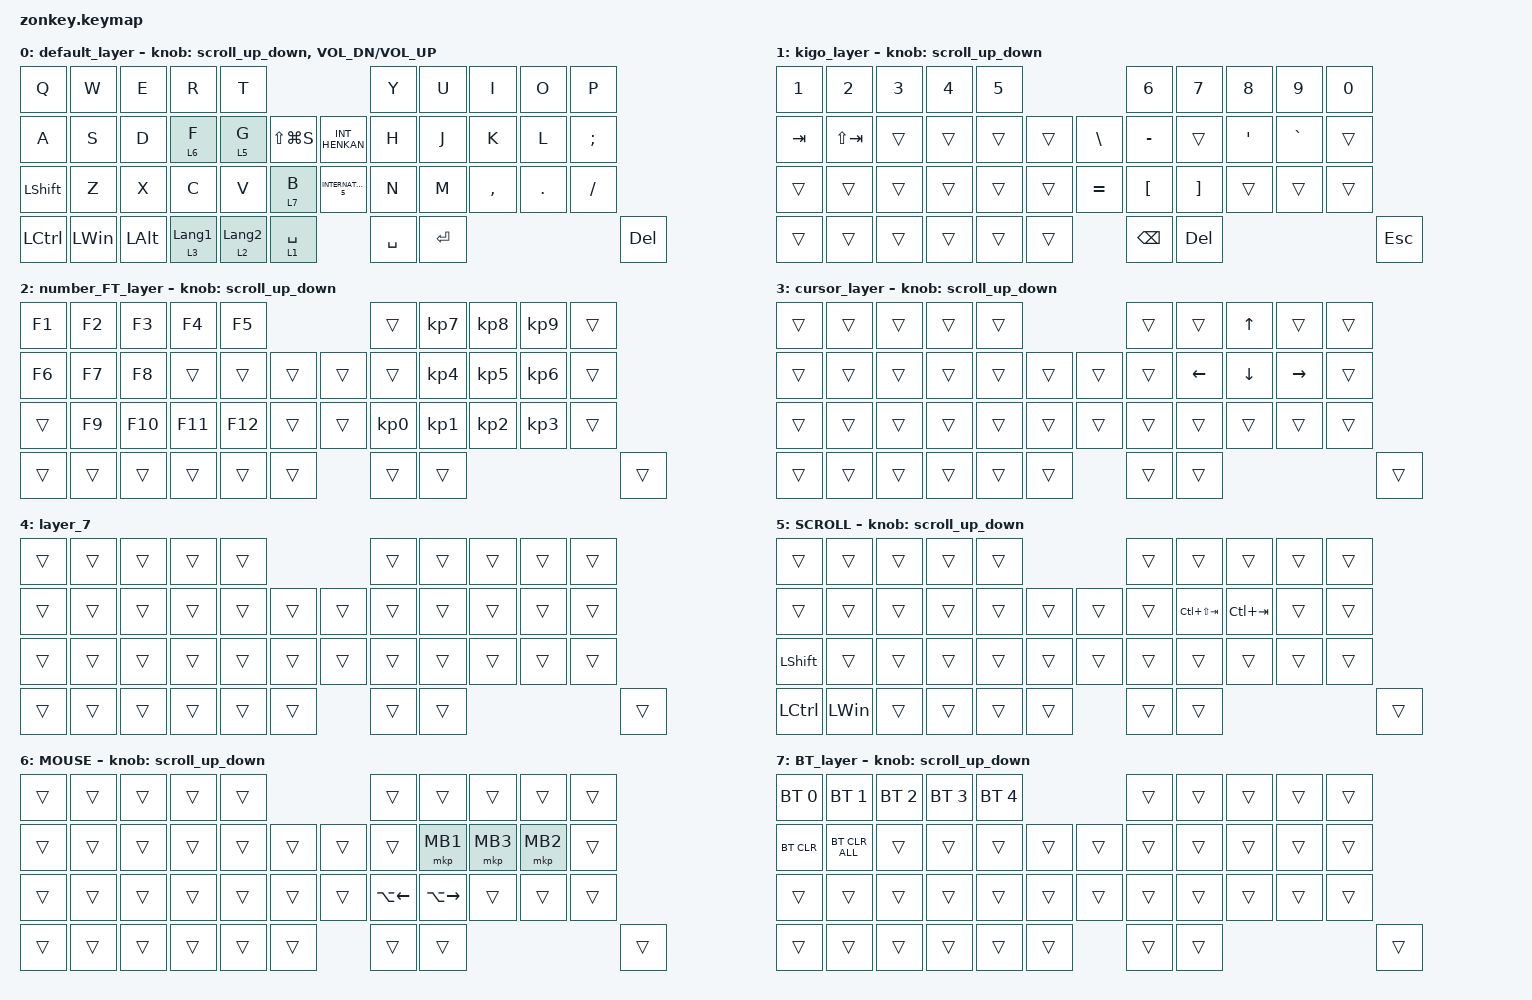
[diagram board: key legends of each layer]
#include <behaviors.dtsi>
#include <dt-bindings/zmk/bt.h>
#include <dt-bindings/zmk/keys.h>
#include <dt-bindings/zmk/pointing.h>

#define ZMK_POINTING_DEFAULT_SCRL_VAL 100
#define MOUSE 6
#define JP_DQUOTE       AT                // "
#define JP_AMPERSAND    CARET             // &
#define JP_QUOTE        AMPERSAND         // '
#define JP_EQUAL        UNDER             // =
#define JP_CARET        EQUAL             // ^
#define JP_YEN          0x89              // ¥
#define JP_PLUS         COLON             // +
#define JP_TILDE        PLUS              // ~
#define JP_PIPE         LS(0x89)          // |
#define JP_AT           LEFT_BRACKET      // @
#define JP_COLON        SINGLE_QUOTE      // :
#define JP_ASTERISK     DOUBLE_QUOTES     // *
#define JP_BACKQUOTE    LEFT_BRACE        // `
#define JP_UNDERSCORE   LS(0x87)          // _
#define JP_LBRACKET     RIGHT_BRACKET     // [
#define JP_RBRACKET     BACKSLASH         // ]
#define JP_LPAREN       ASTERISK          // (
#define JP_RPAREN       LEFT_PARENTHESIS  // )
#define JP_LBRACE       RIGHT_BRACE       // {
#define JP_RBRACE       PIPE              // }
#define JP_KANA         LANGUAGE_1        // かな
#define JP_EISU         LANGUAGE_2        // 英数
#define JP_HANZEN       GRAVE             // 半角/全角
#define JP_BSLH  INT1         // (backslash)

&mt {
    flavor = "balanced";
    quick-tap-ms = <0>;
};

/ {
    combos { compatible = "zmk,combos"; };

    mo2: mo2 {
        compatible = "zmk,behavior-mod-morph";
        #binding-cells = <0>;
        bindings = <&kp N2>, <&kp AT>;

        mods = <(MOD_LSFT|MOD_RSFT)>;
    };

    mo6: mo6 {
        compatible = "zmk,behavior-mod-morph";
        #binding-cells = <0>;
        bindings = <&kp N6>, <&kp CARET>;

        mods = <(MOD_LSFT|MOD_RSFT)>;
    };

    mo7: mo7 {
        compatible = "zmk,behavior-mod-morph";
        #binding-cells = <0>;
        bindings = <&kp N7>, <&kp AMPS>;

        mods = <(MOD_LSFT|MOD_RSFT)>;
    };

    mo8: mo8 {
        compatible = "zmk,behavior-mod-morph";
        #binding-cells = <0>;
        bindings = <&kp N8>, <&kp ASTRK>;

        mods = <(MOD_LSFT|MOD_RSFT)>;
    };

    mo9: mo9 {
        compatible = "zmk,behavior-mod-morph";
        #binding-cells = <0>;
        bindings = <&kp N9>, <&kp LPAR>;

        mods = <(MOD_LSFT|MOD_RSFT)>;
    };

    mo0: mo0 {
        compatible = "zmk,behavior-mod-morph";
        #binding-cells = <0>;
        bindings = <&kp N0>, <&kp LS(N9)>;

        mods = <(MOD_LSFT|MOD_RSFT)>;
    };

    moA: moA {
        compatible = "zmk,behavior-mod-morph";
        #binding-cells = <0>;
        bindings = <&kp MINUS>, <&kp UNDERSCORE>;

        mods = <(MOD_LSFT|MOD_RSFT)>;
    };

    moB: moB {
        compatible = "zmk,behavior-mod-morph";
        #binding-cells = <0>;
        bindings = <&kp EQUAL>, <&kp PLUS>;

        mods = <(MOD_LSFT|MOD_RSFT)>;
    };

    moC: moC {
        compatible = "zmk,behavior-mod-morph";
        #binding-cells = <0>;
        bindings = <&kp INT3>, <&kp JP_PIPE>;

        mods = <(MOD_LSFT|MOD_RSFT)>;
    };

    moD: moD {
        compatible = "zmk,behavior-mod-morph";
        #binding-cells = <0>;
        bindings = <&kp LBKT>, <&kp LBRC>;

        mods = <(MOD_LSFT|MOD_RSFT)>;
    };

    moE: moE {
        compatible = "zmk,behavior-mod-morph";
        #binding-cells = <0>;
        bindings = <&kp RBKT>, <&kp RBRC>;

        mods = <(MOD_LSFT|MOD_RSFT)>;
    };

    moF: moF {
        compatible = "zmk,behavior-mod-morph";
        #binding-cells = <0>;
        bindings = <&kp SEMI>, <&kp KP_PLUS>;

        mods = <(MOD_LSFT|MOD_RSFT)>;
    };

    moG: moG {
        compatible = "zmk,behavior-mod-morph";
        #binding-cells = <0>;
        bindings = <&kp APOSTROPHE>, <&kp DQT>;

        mods = <(MOD_LSFT|MOD_RSFT)>;
    };

    moH: moH {
        compatible = "zmk,behavior-mod-morph";
        #binding-cells = <0>;
        bindings = <&kp BACKSLASH>, <&kp TILDE2>;

        mods = <(MOD_LSFT|MOD_RSFT)>;
    };

    moI: moI {
        compatible = "zmk,behavior-mod-morph";
        #binding-cells = <0>;
        bindings = <&kp JP_BSLH>, <&kp JP_UNDERSCORE>;

        mods = <(MOD_LSFT|MOD_RSFT)>;
    };

    macros {
        to_layer_0: to_layer_0 {
            compatible = "zmk,behavior-macro-one-param";
            #binding-cells = <1>;
            bindings = <&to 0 &macro_param_1to1 &kp MACRO_PLACEHOLDER>;
            label = "TO_LAYER_0";
        };
    };

    behaviors {
        lt_to_layer_0: lt_to_layer_0 {
            compatible = "zmk,behavior-hold-tap";
            label = "LAYER_TAP_TO_0";
            bindings = <&mo>, <&to_layer_0>;

            #binding-cells = <2>;
            tapping-term-ms = <200>;
        };

        scroll_up_down: behavior_sensor_rotate_mouse_wheel_up_down {
            compatible = "zmk,behavior-sensor-rotate";
            #sensor-binding-cells = <0>;
            bindings = <&msc SCRL_DOWN>, <&msc SCRL_UP>;

            tap-ms = <20>;
        };
    };

    keymap {
        compatible = "zmk,keymap";

        default_layer {
            // -----------------------------------------------------------------------------------------
            // |  Q  |  W  |  E  |  R  |  T  |                        |  Y  |  U   |  I  |  O  |  P  | 
            // |  A  |  S  |  D  |  F  |  G  |LS(LG(S))|        　 | - |  H  |  J   |  K  |  L  |  `  | 
            // |SHIFT|  Z  |  X  |  C  |  V  |  B  |           | ; |  N  |  M   |  ,  |  .  |  /  | 
            // | CTRL | WIN | ALT |HENKAN|SPACE|MUHENKAN|       | BS | ENT |      　　　　       | DEL |           

            bindings = <
&kp Q           &kp W         &kp E         &kp R             &kp T                                                   &kp Y      &kp U      &kp I      &kp O    &kp P
&kp A           &kp S         &kp D         &lt 6 F           &lt 5 G           &kp LS(LG(S))    &kp INT_HENKAN       &kp H      &kp J      &kp K      &kp L    &kp SEMICOLON
&kp LEFT_SHIFT  &kp Z         &kp X         &kp C             &kp V             &lt 7 B          &kp INTERNATIONAL_5  &kp N      &kp M      &kp COMMA  &kp DOT  &kp SLASH
&kp LCTRL       &kp LEFT_WIN  &kp LEFT_ALT  &lt 3 LANGUAGE_1  &lt 2 LANGUAGE_2  &lt 1 SPACE                           &kp SPACE  &kp ENTER                                     &kp DELETE
            >;

            sensor-bindings =
                <&scroll_up_down>,
                <&inc_dec_kp C_VOL_DN C_VOL_UP>;
        };

        kigo_layer {
            // -----------------------------------------------------------------------------------------
            // |  1  |  2  |  3  |  4  |  5  |                     |  6  |  7  |  8  |  9  |   0  |
            // |      |     |     |     |     |     |           |    |     |     |     |  ↑  |      |
            // |SHIFT|     |     |     |     |     |           |     |     |     |  ←  |  ↓  |  →  |
            // | CTRL| WIN | ALT |HENKAN|SPACE|MUHENKAN|         | BS | ENT |                   | DEL |

            bindings = <
&kp N1   &kp NUMBER_2  &kp N3  &kp N4  &kp N5                           &kp NUMBER_6      &kp N7             &kp N8   &kp N9     &kp N0
&kp TAB  &kp LS(TAB)   &trans  &trans  &trans  &trans    &kp BACKSLASH  &kp MINUS         &trans             &kp SQT  &kp GRAVE  &trans
&trans   &trans        &trans  &trans  &trans  &trans    &kp EQUAL      &kp LEFT_BRACKET  &kp RIGHT_BRACKET  &trans   &trans     &trans
&trans   &trans        &trans  &trans  &trans  &trans                   &kp BACKSPACE     &kp DELETE                                     &kp ESCAPE
            >;

            sensor-bindings = <&scroll_up_down>;
        };

        number_FT_layer {
            // -----------------------------------------------------------------------------------------
            // | BT0 | BT1 | BT2 | BT3 | BT4 |                |  -  |  7  |  8  |  9  |  +  |
            // |BTCLR |     |     |     |     |     |           |  /  |  4  |  5  |  6  |  *  | 
            // |SHIFT|     |     |     |     |     |           |  0  |  1  |  2  |   3 |  .  |  =  |
            // | CTRL| WIN | ALT |HENKAN|SPACE|MUHENKAN|        | BS | ENT |                  | DEL |

            bindings = <
&kp F1  &kp F2  &kp F3   &kp F4   &kp F5                     &trans           &kp KP_NUMBER_7  &kp KP_NUMBER_8  &kp KP_NUMBER_9  &trans
&kp F6  &kp F7  &kp F8   &trans   &trans   &trans    &trans  &trans           &kp KP_NUMBER_4  &kp KP_NUMBER_5  &kp KP_NUMBER_6  &trans
&trans  &kp F9  &kp F10  &kp F11  &kp F12  &trans    &trans  &kp KP_NUMBER_0  &kp KP_NUMBER_1  &kp KP_NUMBER_2  &kp KP_N3        &trans
&trans  &trans  &trans   &trans   &trans   &trans            &trans           &trans                                                     &trans
            >;

            sensor-bindings = <&scroll_up_down>;
        };

        cursor_layer {
            bindings = <
&trans  &trans  &trans  &trans  &trans                    &trans  &trans    &kp UP_ARROW  &trans     &trans
&trans  &trans  &trans  &trans  &trans  &trans    &trans  &trans  &kp LEFT  &kp DOWN      &kp RIGHT  &trans
&trans  &trans  &trans  &trans  &trans  &trans    &trans  &trans  &trans    &trans        &trans     &trans
&trans  &trans  &trans  &trans  &trans  &trans            &trans  &trans                                     &trans
            >;

            sensor-bindings = <&scroll_up_down>;
        };

        layer_7 {
            bindings = <
&trans  &trans  &trans  &trans  &trans                    &trans  &trans  &trans  &trans  &trans
&trans  &trans  &trans  &trans  &trans  &trans    &trans  &trans  &trans  &trans  &trans  &trans
&trans  &trans  &trans  &trans  &trans  &trans    &trans  &trans  &trans  &trans  &trans  &trans
&trans  &trans  &trans  &trans  &trans  &trans            &trans  &trans                          &trans
            >;
        };

        SCROLL {
            // -----------------------------------------------------------------------------------------
            // |      |     |     |     |     |                     |     |     |     |     |      |
            // |      |     |     |     |     |     |           |    |     |     |     |     |      |
            // |SHIFT|     |     |     |     |     |          |     |     |     |     |     |      |
            // | CTRL| WIN | ALT |HENKAN|SPACE|MUHENKAN|        | BS | ENT |                  | DEL |

            bindings = <
&trans            &trans        &trans  &trans  &trans                    &trans  &trans           &trans       &trans  &trans
&trans            &trans        &trans  &trans  &trans  &trans    &trans  &trans  &kp LC(LS(TAB))  &kp LC(TAB)  &trans  &trans
&kp LEFT_SHIFT    &trans        &trans  &trans  &trans  &trans    &trans  &trans  &trans           &trans       &trans  &trans
&kp LEFT_CONTROL  &kp LEFT_WIN  &trans  &trans  &trans  &trans            &trans  &trans                                        &trans
            >;

            sensor-bindings = <&scroll_up_down>;
        };

        MOUSE {
            bindings = <
&trans  &trans  &trans  &trans  &trans                    &trans              &trans         &trans    &trans    &trans
&trans  &trans  &trans  &trans  &trans  &trans    &trans  &trans              &mkp MB1       &mkp MB3  &mkp MB2  &trans
&trans  &trans  &trans  &trans  &trans  &trans    &trans  &kp LA(LEFT_ARROW)  &kp LA(RIGHT)  &trans    &trans    &trans
&trans  &trans  &trans  &trans  &trans  &trans            &trans              &trans                                     &trans
            >;

            sensor-bindings = <&scroll_up_down>;
        };

        BT_layer {
            bindings = <
&bt BT_SEL 0  &bt BT_SEL 1    &bt BT_SEL 2  &bt BT_SEL 3  &bt BT_SEL 4                    &trans  &trans  &trans  &trans  &trans
&bt BT_CLR    &bt BT_CLR_ALL  &trans        &trans        &trans        &trans    &trans  &trans  &trans  &trans  &trans  &trans
&trans        &trans          &trans        &trans        &trans        &trans    &trans  &trans  &trans  &trans  &trans  &trans
&trans        &trans          &trans        &trans        &trans        &trans            &trans  &trans                          &trans
            >;

            sensor-bindings = <&scroll_up_down>;
        };
    };
};
